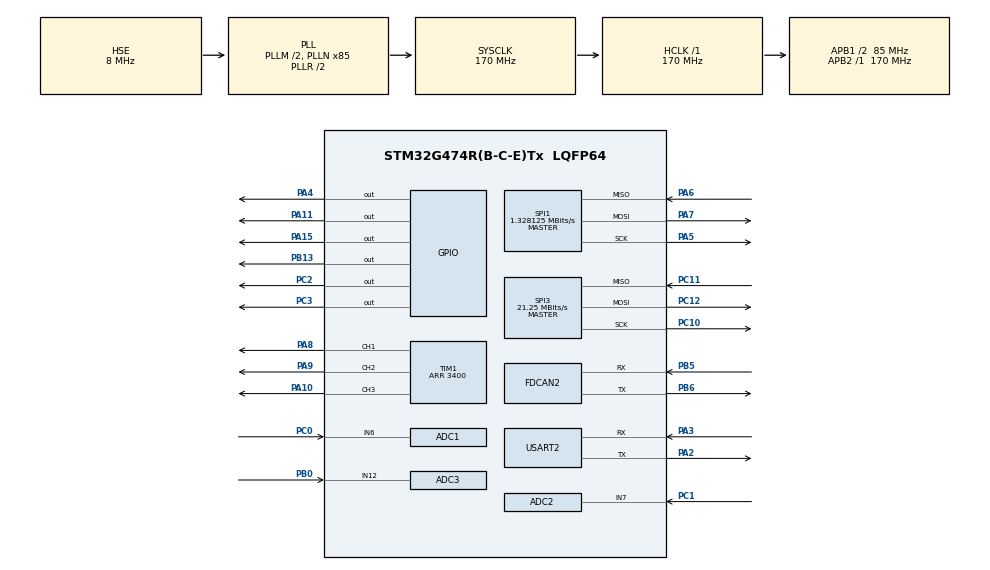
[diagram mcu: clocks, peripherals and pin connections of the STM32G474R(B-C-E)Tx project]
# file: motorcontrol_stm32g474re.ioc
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Mcu.Family=STM32G4
NVIC.ADC3_IRQn=true\:1\:0\:true\:false\:true\:true\:true
PA6.Mode=Full_Duplex_Master
RCC.CortexFreq_Value=170000000
SPI3.Direction=SPI_DIRECTION_2LINES
SPI3.VirtualType=VM_MASTER
FDCAN2.DataPrescaler=1
SPI1.VirtualType=VM_MASTER
ADC2.Channel-0\#ChannelRegularConversion=ADC_CHANNEL_7
TIM1.RepetitionCounter=1
PC10.Signal=SPI3_SCK
PC12.Signal=SPI3_MOSI
PC2.GPIO_Speed=GPIO_SPEED_FREQ_LOW
TIM1.OCFastMode_PWM-PWM\ Generation1\ CH1=TIM_OCFAST_ENABLE
PB13.Signal=GPIO_Output
ADC3.Channel-0\#ChannelRegularConversion=ADC_CHANNEL_12
PC3.GPIO_Speed=GPIO_SPEED_FREQ_LOW
RCC.SYSCLKSource=RCC_SYSCLKSOURCE_PLLCLK
ProjectManager.StackSize=0x400
FDCAN2.FrameFormat=FDCAN_FRAME_CLASSIC
ADC1.Mode=ADC_MODE_INDEPENDENT
SPI1.Direction=SPI_DIRECTION_2LINES
RCC.HCLKFreq_Value=170000000
RCC.APB2TimFreq_Value=170000000
PB6.Signal=FDCAN2_TX
ADC1.Channel-2\#ChannelRegularConversion=ADC_CHANNEL_6
PB6.Mode=FDCAN_Activate
SPI1.CalculateBaudRate=1.328125 MBits/s
PC3.Signal=GPIO_Output
RCC.AHBFreq_Value=170000000
SPI3.DataSize=SPI_DATASIZE_16BIT
RCC.HSE_VALUE=8000000
USART2.VirtualMode-Asynchronous=VM_ASYNC
RCC.ADC12Freq_Value=170000000
FDCAN2.ExtFiltersNbr=1
ADC1.Rank-2\#ChannelRegularConversion=1
TIM1.Channel-PWM\ Generation1\ CH1=TIM_CHANNEL_1
PA14.Mode=Serial_Wire
PB5.Mode=FDCAN_Activate
ADC3.ContinuousConvMode=DISABLE
SPI1.DataSize=SPI_DATASIZE_16BIT
VP_SYS_VS_DBSignals.Mode=DisableDeadBatterySignals
ADC3.DataAlign=ADC_DATAALIGN_RIGHT
PA8.Signal=S_TIM1_CH1
VP_TIM1_VS_ClockSourceINT.Mode=Internal
ADC3.master=1
Mcu.Package=LQFP64
PA6.Signal=SPI1_MISO
SPI3.Mode=SPI_MODE_MASTER
TIM1.OCFastMode_PWM-PWM\ Generation3\ CH3=TIM_OCFAST_ENABLE
ADC3.Rank-0\#ChannelRegularConversion=1
PA10.Signal=S_TIM1_CH3
PA15.Signal=GPIO_Output
ADC2.SamplingTime-0\#ChannelRegularConversion=ADC_SAMPLETIME_2CYCLES_5
PC11.Mode=Full_Duplex_Master
ADC3.OffsetNumber-0\#ChannelRegularConversion=ADC_OFFSET_NONE
ADC3.ClockPrescaler=ADC_CLOCK_SYNC_PCLK_DIV4
RCC.APB1TimFreq_Value=170000000
ADC2.Rank-0\#ChannelRegularConversion=1
PF1-OSC_OUT.Mode=HSE-External-Oscillator
FDCAN2.StdFiltersNbr=1
SPI1.BaudRatePrescaler=SPI_BAUDRATEPRESCALER_128
FDCAN2.Mode=FDCAN_MODE_NORMAL
PF1-OSC_OUT.Signal=RCC_OSC_OUT
RCC.HSI48_VALUE=48000000
PA3.Signal=USART2_RX
PA5.Mode=Full_Duplex_Master
ADC2.ClockPrescaler=ADC_CLOCK_SYNC_PCLK_DIV4
RCC.PLLSourceVirtual=RCC_PLLSOURCE_HSE
TIM1.OCPolarity_1=TIM_OCPOLARITY_LOW
TIM1.OCPolarity_3=TIM_OCPOLARITY_LOW
TIM1.OCPolarity_2=TIM_OCPOLARITY_LOW
PA7.Mode=Full_Duplex_Master
TIM1.CounterMode=TIM_COUNTERMODE_CENTERALIGNED1
PC11.Signal=SPI3_MISO
PC2.Signal=GPIO_Output
PC10.Mode=Full_Duplex_Master
RCC.EXTERNAL_CLOCK_VALUE=12288000
SPI1.CLKPhase=SPI_PHASE_2EDGE
PC0.Signal=ADC1_IN6
RCC.APB1CLKDivider=RCC_HCLK_DIV2
NVIC.USART2_IRQn=true\:1\:0\:true\:false\:true\:true\:true
ADC1.SamplingTime-2\#ChannelRegularConversion=ADC_SAMPLETIME_2CYCLES_5
ADC3.Resolution=ADC_RESOLUTION_6B
PC0.Mode=IN6-Single-Ended
NVIC.FDCAN2_IT0_IRQn=true\:1\:0\:true\:false\:true\:true\:true
TIM1.OCFastMode_PWM-PWM\ Generation2\ CH2=TIM_OCFAST_ENABLE
FDCAN2.NominalTimeSeg1=12
FDCAN2.NominalTimeSeg2=4
PA13.Signal=SYS_JTMS-SWDIO
PA3.Mode=Asynchronous
TIM1.AutoReloadPreload=TIM_AUTORELOAD_PRELOAD_ENABLE
ADC3.SamplingTime-0\#ChannelRegularConversion=ADC_SAMPLETIME_640CYCLES_5
SH.S_TIM1_CH1.0=TIM1_CH1,PWM Generation1 CH1
ProjectManager.TargetToolchain=STM32CubeIDE
PA9.Signal=S_TIM1_CH2
FDCAN2.DataTimeSeg1=12
FDCAN2.DataTimeSeg2=4
TIM1.Channel-PWM\ Generation2\ CH2=TIM_CHANNEL_2
FDCAN2.NominalPrescaler=5
RCC.USBFreq_Value=170000000
ADC3.NbrOfConversion=1
RCC.LSE_VALUE=32768
PF0-OSC_IN.Mode=HSE-External-Oscillator
PA5.Signal=SPI1_SCK
ADC2.OffsetNumber-0\#ChannelRegularConversion=ADC_OFFSET_NONE
PC12.Mode=Full_Duplex_Master
PB0.Mode=IN12-Single-Ended
board=custom
RCC.VCOOutputFreq_Value=340000000
RCC.ADC345Freq_Value=170000000
RCC.APB2Freq_Value=170000000
SPI3.CalculateBaudRate=21.25 MBits/s
SH.S_TIM1_CH2.0=TIM1_CH2,PWM Generation2 CH2
SPI1.Mode=SPI_MODE_MASTER
SPI3.BaudRatePrescaler=SPI_BAUDRATEPRESCALER_4
PA13.Mode=Serial_Wire
ADC1.OffsetNumber-2\#ChannelRegularConversion=ADC_OFFSET_NONE
Mcu.Name=STM32G474R(B-C-E)Tx
PA2.Signal=USART2_TX
PA4.Signal=GPIO_Output
RCC.SYSCLKFreq_VALUE=170000000
PB5.Signal=FDCAN2_RX
ADC1.master=1
ADC2.NbrOfConversionFlag=1
PA11.Signal=GPIO_Output
PA14.Signal=SYS_JTCK-SWCLK
ProjectManager.HeapSize=0x200
SH.S_TIM1_CH3.0=TIM1_CH3,PWM Generation3 CH3
RCC.HSI_VALUE=16000000
NVIC.TIM1_UP_TIM16_IRQn=true\:1\:0\:true\:false\:true\:true\:true
NVIC.PriorityGroup=NVIC_PRIORITYGROUP_4
ADC1.NbrOfConversionFlag=1
RCC.PLLM=RCC_PLLM_DIV2
RCC.PLLN=85
PA2.Mode=Asynchronous
PF0-OSC_IN.Signal=RCC_OSC_IN
TIM1.Channel-PWM\ Generation3\ CH3=TIM_CHANNEL_3
RCC.APB1Freq_Value=85000000
ADC3.NbrOfConversionFlag=1
PB0.Signal=ADC3_IN12
FDCAN2.TxFifoQueueMode=FDCAN_TX_FIFO_OPERATION
ADC1.ClockPrescaler=ADC_CLOCK_SYNC_PCLK_DIV4
PC1.Signal=ADC2_IN7
TIM1.PeriodNoDither=3400
PC1.Mode=IN7-Single-Ended
PA7.Signal=SPI1_MOSI

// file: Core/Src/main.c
/* USER CODE BEGIN Header */
/**
  ******************************************************************************
  * @file           : main.c
  * @brief          : Main program body
  ******************************************************************************
  * @attention
  *
  * <h2><center>&copy; Copyright (c) 2020 STMicroelectronics.
  * All rights reserved.</center></h2>
  *
  * This software component is licensed by ST under BSD 3-Clause license,
  * the "License"; You may not use this file except in compliance with the
  * License. You may obtain a copy of the License at:
  *                        opensource.org/licenses/BSD-3-Clause
  *
  ******************************************************************************
  */

/// high-bandwidth 3-phase motor control for robots
/// Written by Ben Katz, with much inspiration from Bayley Wang, Nick Kirkby, Shane Colton, David Otten, and others
/// Hardware documentation can be found at build-its.blogspot.com

/* USER CODE END Header */
#include "main.h"
#include "adc.h"
#include "fdcan.h"
#include "spi.h"
#include "tim.h"
#include "usart.h"
#include "gpio.h"

/* USER CODE BEGIN Includes */

#include "structs.h"
#include <stdio.h>
#include <string.h>

//#include "stm32g4xx_flash.h"
//#include "flash_writer.h"
#include "position_sensor.h"
//#include "preference_writer.h"
#include "hw_config.h"
#include "user_config.h"
#include "fsm.h"
#include "foc.h"
#include "math_ops.h"
#include "calibration.h"
#include "flash_access.h"

/* USER CODE END Includes */

/* USER CODE BEGIN PM */

#define VERSION_NUM 2.1f

/* USER CODE END PM */

/* USER CODE BEGIN PV */

/* Flash Registers */
float __float_reg[64];
int __int_reg[256];
//PreferenceWriter prefs;

int count = 0;

/* Structs for control, etc */

ControllerStruct controller;
ObserverStruct observer;
COMStruct com;
FSMStruct state;
EncoderStruct comm_encoder;
DRVStruct drv;
CalStruct comm_encoder_cal;
CANTxMessage can_tx;
CANRxMessage can_rx;

/* init but don't allocate calibration arrays */
int *error_array = NULL;
int *lut_array = NULL;

uint8_t Serial2RxBuffer[1];

/* USER CODE END PV */

void SystemClock_Config(void);

int main(void)
{

  /* MCU Configuration--------------------------------------------------------*/

  /* Reset of all peripherals, Initializes the Flash interface and the Systick. */
  HAL_Init();

  /* Configure the system clock */
  SystemClock_Config();

  /* Initialize all configured peripherals */
  MX_GPIO_Init();
  MX_ADC1_Init();
  MX_FDCAN2_Init();
  MX_SPI1_Init();
  MX_USART2_UART_Init();
  MX_SPI3_Init();
  MX_TIM1_Init();
  MX_ADC2_Init();
  MX_ADC3_Init();
  /* USER CODE BEGIN 2 */

  /* Load settings from flash */
    load_from_flash();

  /* Sanitize configs in case flash is empty*/
  if(E_ZERO==-1){E_ZERO = 0;}
  if(M_ZERO==-1){M_ZERO = 0;}
  if(isnan(I_BW) || I_BW==-1){I_BW = 1000;}
  if(isnan(I_MAX) || I_MAX ==-1){I_MAX=40;}
  if(isnan(I_FW_MAX) || I_FW_MAX ==-1){I_FW_MAX=0;}
  if(CAN_ID==-1){CAN_ID = 1;}
  if(CAN_MASTER==-1){CAN_MASTER = 0;}
  if(CAN_TIMEOUT==-1){CAN_TIMEOUT = 1000;}
  if(isnan(R_NOMINAL) || R_NOMINAL==-1){R_NOMINAL = 0.0f;}
  if(isnan(TEMP_MAX) || TEMP_MAX==-1){TEMP_MAX = 125.0f;}
  if(isnan(I_MAX_CONT) || I_MAX_CONT==-1){I_MAX_CONT = 14.0f;}
  if(isnan(I_CAL)||I_CAL==-1){I_CAL = 5.0f;}
  if(isnan(PPAIRS) || PPAIRS==-1){PPAIRS = 21.0f;}
  if(isnan(GR) || GR==-1){GR = 1.0f;}
  if(isnan(KT) || KT==-1){KT = 1.0f;}
  if(isnan(KP_MAX) || KP_MAX==-1){KP_MAX = 500.0f;}
  if(isnan(KD_MAX) || KD_MAX==-1){KD_MAX = 5.0f;}
  if(isnan(P_MAX)){P_MAX = 12.5f;}
  if(isnan(P_MIN)){P_MIN = -12.5f;}
  if(isnan(V_MAX)){V_MAX = 65.0f;}
  if(isnan(V_MIN)){V_MIN = -65.0f;}

  printf("\r\nFirmware Version Number: %.2f\r\n", VERSION_NUM);

  /* Controller Setup */
  if(PHASE_ORDER){							// Timer channel to phase mapping

  }
  else{

  }

if(COMMUTATE_OVERRIDE){
		printf("BEWARE, debug mode with overriden q, d axis voltages in commutate()!\r\n");
	 }

#define PHASE_ORDER_OVERRIDE 0
  if(PHASE_ORDER_OVERRIDE){
	  PHASE_ORDER = 0;
	  printf("BEWARE, debug mode setting PHASE_ORDER to %d!!\n\r", PHASE_ORDER);
  }

  init_controller_params(&controller);

  /* calibration "encoder" zeroing */
  memset(&comm_encoder_cal.cal_position, 0, sizeof(EncoderStruct));

  /* commutation encoder setup */
  comm_encoder.m_zero = M_ZERO;
  comm_encoder.e_zero = E_ZERO;
  comm_encoder.ppairs = PPAIRS;
  ps_warmup(&comm_encoder, 100);			// clear the noisy data when the encoder first turns on

  if(EN_ENC_LINEARIZATION){memcpy(&comm_encoder.offset_lut, &ENCODER_LUT, sizeof(comm_encoder.offset_lut));}	// Copy the linearization lookup table
  else{memset(&comm_encoder.offset_lut, 0, sizeof(comm_encoder.offset_lut));}
  //for(int i = 0; i<128; i++){printf("%d\r\n", comm_encoder.offset_lut[i]);}

  /* Turn on ADCs */
  HAL_ADC_Start(&hadc1);
  HAL_ADC_Start(&hadc2);
  HAL_ADC_Start(&hadc3);

  /* DRV8353 setup */
  HAL_GPIO_WritePin(DRV_CS, GPIO_PIN_SET ); 	// CS high
  HAL_GPIO_WritePin(ENABLE_PIN, GPIO_PIN_SET );
  HAL_Delay(1);
  //drv_calibrate(drv);
  HAL_Delay(1);
  drv_write_DCR(drv, 0x0, DIS_GDF_EN, 0x0, PWM_MODE_3X, 0x0, 0x0, 0x0, 0x0, 0x1);
  HAL_Delay(1);
  drv_write_CSACR(drv, 0x0, 0x1, 0x0, CSA_GAIN_40, 0x0, 0x1, 0x1, 0x1, SEN_LVL_1_0);
  HAL_Delay(1);
  zero_current(&controller);
  HAL_Delay(1);
  drv_write_CSACR(drv, 0x0, 0x1, 0x0, CSA_GAIN_40, 0x1, 0x0, 0x0, 0x0, SEN_LVL_1_0);
  HAL_Delay(1);
  drv_write_OCPCR(drv, TRETRY_50US, DEADTIME_50NS, OCP_DEG_8US, OCP_DEG_8US, VDS_LVL_1_50);
  HAL_Delay(1);
  drv_disable_gd(drv);
  HAL_Delay(1);
  //drv_enable_gd(drv);   */
  printf("ADC A OFFSET: %d     ADC B OFFSET: %d\r\n", controller.adc_a_offset, controller.adc_b_offset);

  // TODO REMOVE - turning off / on driver for debug purposes.
  #define DRV_DISABLED 0
  #define DRV_NOPRINT 0
  if(DRV_DISABLED){
	  HAL_GPIO_WritePin(ENABLE_PIN, GPIO_PIN_RESET);
	  printf("BEWARE, debug mode with driver disabled!!\n\r");
  	  }
  if(DRV_NOPRINT){
	  printf("BEWARE, debug mode with driver error printing disabled!\n\r");
  	  }

  #define EZERO_OVERRIDE 0
  if(EZERO_OVERRIDE){
  	  printf("BEWARE, debug mode with hardcoded e-zero!\n\r");
  	  E_ZERO = 0;
    	  }

  /*
  while(1){
	  uint16_t retVal = drv_spi_write(&drv, (LSR<<11)|(val&mask));
	  printf("sent %d to %d, gotten %d\n\r", val, (LSR<<12), retVal);
	  HAL_Delay(1);

	  retVal = drv_spi_write(&drv, (1<<16)|(LSR<<11)|(val&mask));
	  printf("reading from %d, gotten %d\n\r", (LSR<<12), retVal);
	  HAL_Delay(1);
	  //val++;s
  }
  */

  HAL_GPIO_WritePin(LED1, 1 );

  /* Turn on PWM */
  HAL_TIM_PWM_Start(&htim1, TIM_CHANNEL_1);
  HAL_TIM_PWM_Start(&htim1, TIM_CHANNEL_2);
  HAL_TIM_PWM_Start(&htim1, TIM_CHANNEL_3);

  /* CAN setup */
  /*
  can_rx_init(&can_rx);
  can_tx_init(&can_tx);
  HAL_CAN_Start(&CAN_H); start CAN
  __HAL_CAN_ENABLE_IT(&CAN_H, CAN_IT_RX_FIFO0_MSG_PENDING);  Start can interrupt
	*/

  can_rx_init(&can_rx);
  can_tx_init(&can_tx);

  HAL_FDCAN_Start(&CAN_H);
  HAL_FDCAN_ActivateNotification(&CAN_H, FDCAN_IT_RX_FIFO0_NEW_MESSAGE, 0);
  //__HAL_FDCAN_ENABLE_IT(&CAN_H, FDCAN_IT_RX_FIFO0_NEW_MESSAGE); DOES NOT WORK!

  /* Set Interrupt Priorities */
  /*
  NVIC_SetPriority(PWM_ISR, 1); // commutation > communication
  NVIC_SetPriority(CAN_ISR, 3);
  */
  //ben bugfix 12.6.22:
  HAL_NVIC_SetPriority(PWM_ISR, 0x0,0x0);
  HAL_NVIC_SetPriority(CAN_ISR, 0x01, 0x01);

  /* Start the FSM */
  state.state = MENU_MODE;
  state.next_state = MENU_MODE;
  state.ready = 1;

  /* Turn on interrupts */
  HAL_UART_Receive_IT(&huart2, (uint8_t *)Serial2RxBuffer, 1);
  HAL_TIM_Base_Start_IT(&htim1);

  HAL_ADC_Start_IT(&ADC_CH_VBUS);

  HAL_GPIO_WritePin(LED1, 0 );

  /* USER CODE END 2 */

  /* Infinite loop */
  /* USER CODE BEGIN WHILE */
  while (1)
  {
	  HAL_Delay(100);

	  if(! (DRV_DISABLED||DRV_NOPRINT) ) drv_print_faults(drv);

	  //controller.dtc_u = 0.3;
	  //set_dtc(&controller);
	  //printf("%f %f %f \n\r", controller.i_a, controller.i_b, controller.i_c);

	  //printf("ppairs %f \n\r", PPAIRS);
	  //printf("vbus %f \n\r",controller.v_bus);
	  //printf("Ria,b %d %d \n\r", controller.adc_a_raw, controller.adc_b_raw);
	  //printf("ia,b %f %f | %d %d \n\r", controller.i_a, controller.i_b, controller.adc_a_raw-controller.adc_a_offset, controller.adc_b_raw-controller.adc_b_offset);
	  //pack_reply(&can_tx, CAN_ID,  0.0, 0.0, 0.0);	// Pack response
	  //HAL_FDCAN_AddMessageToTxFifoQ(&CAN_H, &can_tx.tx_header, can_tx.data); //replacement for above line
	  //printf("sent\n");
	  if(state.state==MOTOR_MODE){
	  	  //printf("%.2f %.2f %.2f %.2f %.2f %.2f\r\n", controller.i_a, controller.i_b, controller.i_d, controller.i_q, controller.dtheta_elec, controller.dtheta_mech);
		  //printf("%f.2 ", controller.p_des);
	  }
    /* USER CODE END WHILE */

  }
}

void SystemClock_Config(void)
{
  RCC_OscInitTypeDef RCC_OscInitStruct = {0};
  RCC_ClkInitTypeDef RCC_ClkInitStruct = {0};
  RCC_PeriphCLKInitTypeDef PeriphClkInit = {0};

  /** Configure the main internal regulator output voltage
  */
  HAL_PWREx_ControlVoltageScaling(PWR_REGULATOR_VOLTAGE_SCALE1_BOOST);
  /** Initializes the RCC Oscillators according to the specified parameters
  * in the RCC_OscInitTypeDef structure.
  */
  RCC_OscInitStruct.OscillatorType = RCC_OSCILLATORTYPE_HSE;
  RCC_OscInitStruct.HSEState = RCC_HSE_ON;
  RCC_OscInitStruct.PLL.PLLState = RCC_PLL_ON;
  RCC_OscInitStruct.PLL.PLLSource = RCC_PLLSOURCE_HSE;
  RCC_OscInitStruct.PLL.PLLM = RCC_PLLM_DIV2;
  RCC_OscInitStruct.PLL.PLLN = 85;
  RCC_OscInitStruct.PLL.PLLP = RCC_PLLP_DIV2;
  RCC_OscInitStruct.PLL.PLLQ = RCC_PLLQ_DIV2;
  RCC_OscInitStruct.PLL.PLLR = RCC_PLLR_DIV2;
  if (HAL_RCC_OscConfig(&RCC_OscInitStruct) != HAL_OK)
  {
    Error_Handler();
  }
  /** Initializes the CPU, AHB and APB buses clocks
  */
  RCC_ClkInitStruct.ClockType = RCC_CLOCKTYPE_HCLK|RCC_CLOCKTYPE_SYSCLK
                              |RCC_CLOCKTYPE_PCLK1|RCC_CLOCKTYPE_PCLK2;
  RCC_ClkInitStruct.SYSCLKSource = RCC_SYSCLKSOURCE_PLLCLK;
  RCC_ClkInitStruct.AHBCLKDivider = RCC_SYSCLK_DIV1;
  RCC_ClkInitStruct.APB1CLKDivider = RCC_HCLK_DIV2;
  RCC_ClkInitStruct.APB2CLKDivider = RCC_HCLK_DIV1;

  if (HAL_RCC_ClockConfig(&RCC_ClkInitStruct, FLASH_LATENCY_4) != HAL_OK)
  {
    Error_Handler();
  }
  /** Initializes the peripherals clocks
  */
  PeriphClkInit.PeriphClockSelection = RCC_PERIPHCLK_USART2|RCC_PERIPHCLK_ADC12
                              |RCC_PERIPHCLK_ADC345|RCC_PERIPHCLK_FDCAN;
  PeriphClkInit.Usart2ClockSelection = RCC_USART2CLKSOURCE_PCLK1;
  PeriphClkInit.FdcanClockSelection = RCC_FDCANCLKSOURCE_PCLK1;
  PeriphClkInit.Adc12ClockSelection = RCC_ADC12CLKSOURCE_SYSCLK;
  PeriphClkInit.Adc345ClockSelection = RCC_ADC345CLKSOURCE_SYSCLK;
  if (HAL_RCCEx_PeriphCLKConfig(&PeriphClkInit) != HAL_OK)
  {
    Error_Handler();
  }
}

void Error_Handler(void)
{
}

/************************ (C) COPYRIGHT STMicroelectronics *****END OF FILE****/
